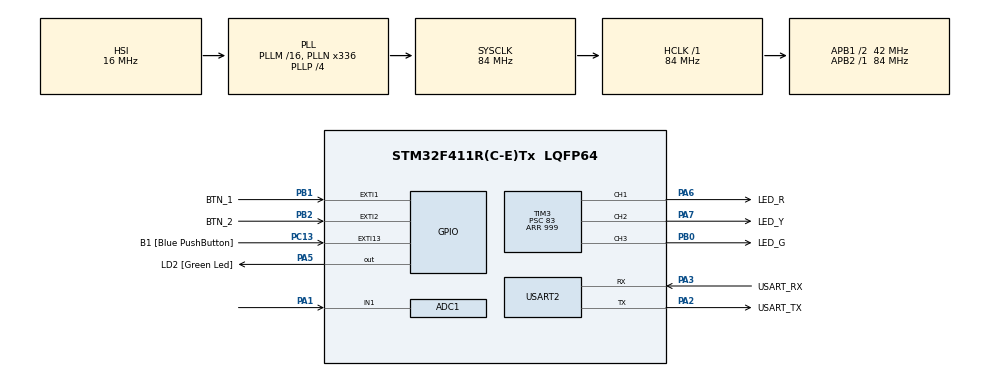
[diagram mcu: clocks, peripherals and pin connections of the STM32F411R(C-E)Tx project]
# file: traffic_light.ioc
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ADC1.Channel-0\#ChannelRegularConversion=ADC_CHANNEL_1
ADC1.NbrOfConversionFlag=1
ADC1.Rank-0\#ChannelRegularConversion=1
ADC1.SamplingTime-0\#ChannelRegularConversion=ADC_SAMPLETIME_3CYCLES
ADC1.master=1
Mcu.Family=STM32F4
Mcu.Name=STM32F411R(C-E)Tx
Mcu.Package=LQFP64
NVIC.ADC_IRQn=true\:0\:0\:false\:false\:true\:true\:true\:true
NVIC.EXTI1_IRQn=true\:0\:0\:false\:false\:true\:true\:true\:true
NVIC.EXTI2_IRQn=true\:0\:0\:false\:false\:true\:true\:true\:true
NVIC.PriorityGroup=NVIC_PRIORITYGROUP_0
NVIC.TIM2_IRQn=true\:0\:0\:false\:false\:true\:true\:true\:true
NVIC.TIM3_IRQn=true\:0\:0\:false\:false\:true\:true\:true\:true
PA0-WKUP.Signal=S_TIM2_CH1_ETR
PA1.Signal=ADCx_IN1
PA13.GPIO_Label=TMS
PA13.Mode=Serial_Wire
PA13.Signal=SYS_JTMS-SWDIO
PA14.GPIO_Label=TCK
PA14.Mode=Serial_Wire
PA14.Signal=SYS_JTCK-SWCLK
PA2.GPIO_Label=USART_TX
PA2.Mode=Asynchronous
PA2.Signal=USART2_TX
PA3.GPIO_Label=USART_RX
PA3.Mode=Asynchronous
PA3.Signal=USART2_RX
PA5.GPIO_Label=LD2 [Green Led]
PA5.Signal=GPIO_Output
PA6.GPIO_Label=LED_R
PA6.Signal=S_TIM3_CH1
PA7.GPIO_Label=LED_Y
PA7.Signal=S_TIM3_CH2
PB0.GPIO_Label=LED_G
PB0.Signal=S_TIM3_CH3
PB1.GPIO_Label=BTN_1
PB1.Signal=GPXTI1
PB2.GPIO_Label=BTN_2
PB2.Signal=GPXTI2
PB3.GPIO_Label=SWO
PB3.Signal=SYS_JTDO-SWO
PC13-ANTI_TAMP.GPIO_Label=B1 [Blue PushButton]
PC13-ANTI_TAMP.GPIO_ModeDefaultEXTI=GPIO_MODE_IT_FALLING
PC13-ANTI_TAMP.Signal=GPXTI13
PC14-OSC32_IN.Mode=LSE-External-Oscillator
PC14-OSC32_IN.Signal=RCC_OSC32_IN
PC15-OSC32_OUT.Mode=LSE-External-Oscillator
PC15-OSC32_OUT.Signal=RCC_OSC32_OUT
PH0\ -\ OSC_IN.Mode=HSE-External-Clock-Source
PH0\ -\ OSC_IN.Signal=RCC_OSC_IN
PH1\ -\ OSC_OUT.Mode=HSE-External-Clock-Source
PH1\ -\ OSC_OUT.Signal=RCC_OSC_OUT
ProjectManager.HeapSize=0x200
ProjectManager.StackSize=0x400
ProjectManager.TargetToolchain=STM32CubeIDE
RCC.48MHZClocksFreq_Value=84000000
RCC.AHBFreq_Value=84000000
RCC.APB1CLKDivider=RCC_HCLK_DIV2
RCC.APB1Freq_Value=42000000
RCC.APB1TimFreq_Value=84000000
RCC.APB2Freq_Value=84000000
RCC.APB2TimFreq_Value=84000000
RCC.CortexFreq_Value=84000000
RCC.FLatency-AdvancedSettings=FLASH_LATENCY_2
RCC.HCLKFreq_Value=84000000
RCC.HSE_VALUE=8000000
RCC.HSI_VALUE=16000000
RCC.PLLN=336
RCC.PLLP=RCC_PLLP_DIV4
RCC.SYSCLKFreq_VALUE=84000000
RCC.SYSCLKSource=RCC_SYSCLKSOURCE_PLLCLK
RCC.VCOOutputFreq_Value=336000000
SH.ADCx_IN1.0=ADC1_IN1,IN1
SH.S_TIM2_CH1_ETR.0=TIM2_CH1
SH.S_TIM3_CH1.0=TIM3_CH1,PWM Generation1 CH1
SH.S_TIM3_CH2.0=TIM3_CH2,PWM Generation2 CH2
SH.S_TIM3_CH3.0=TIM3_CH3,PWM Generation3 CH3
TIM2.Channel-Output\ Compare1\ No\ Output=TIM_CHANNEL_1
TIM2.Period=99
TIM2.Prescaler=8399
TIM2.Pulse-Output\ Compare1\ No\ Output=99
TIM3.Channel-PWM\ Generation1\ CH1=TIM_CHANNEL_1
TIM3.Channel-PWM\ Generation2\ CH2=TIM_CHANNEL_2
TIM3.Channel-PWM\ Generation3\ CH3=TIM_CHANNEL_3
TIM3.Period=999
TIM3.Prescaler=83
TIM3.Pulse-PWM\ Generation1\ CH1=499
TIM3.Pulse-PWM\ Generation2\ CH2=499
TIM3.Pulse-PWM\ Generation3\ CH3=999
USART2.VirtualMode=VM_ASYNC
VP_TIM2_VS_no_output1.Mode=Output Compare1 No Output
board=NUCLEO-F411RE

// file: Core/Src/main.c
/* USER CODE BEGIN Header */
/**
 ******************************************************************************
 * @file           : main.c
 * @brief          : Main program body
 ******************************************************************************
 * @attention
 *
 * Copyright (c) 2025 STMicroelectronics.
 * All rights reserved.
 *
 * This software is licensed under terms that can be found in the LICENSE file
 * in the root directory of this software component.
 * If no LICENSE file comes with this software, it is provided AS-IS.
 *
 ******************************************************************************
 */
/* USER CODE END Header */
#include "main.h"

/* USER CODE BEGIN Includes */
#include <stdio.h>
/* USER CODE END Includes */

/* USER CODE BEGIN PD */
#ifdef __GNUC__
/* With GCC, small printf (option LD Linker->Libraries->Small printf
 set to 'Yes') calls __io_putchar() */
#define PUTCHAR_PROTOTYPE int __io_putchar(int ch)
#else
#define PUTCHAR_PROTOTYPE int fputc(int ch, FILE *f)
#endif /* __GNUC__ */
/* USER CODE END PD */

ADC_HandleTypeDef hadc1;

TIM_HandleTypeDef htim2;
TIM_HandleTypeDef htim3;

UART_HandleTypeDef huart2;

/* USER CODE BEGIN PV */
// ADC, PWM
volatile uint8_t  adc_flag = 0;
volatile uint32_t adc_value = 0;
volatile uint32_t pwm_duty = 0;

// 상태 및 스텝
volatile uint32_t state_tick = 0;

typedef enum {
    STATE_GREEN = 0,
    STATE_YELLOW,
    STATE_RED
} TrafficState_t;

volatile TrafficState_t state = STATE_GREEN;

// 버튼 플래그
volatile uint8_t  btn_1_flag = 0;
volatile uint8_t  btn_2_flag = 0;

/* USER CODE END PV */

void SystemClock_Config(void);
static void MX_GPIO_Init(void);
static void MX_USART2_UART_Init(void);
static void MX_TIM2_Init(void);
static void MX_TIM3_Init(void);
static void MX_ADC1_Init(void);

int main(void) {

	/* MCU Configuration--------------------------------------------------------*/

	/* Reset of all peripherals, Initializes the Flash interface and the Systick. */
	HAL_Init();

	/* Configure the system clock */
	SystemClock_Config();

	/* Initialize all configured peripherals */
	MX_GPIO_Init();
	MX_USART2_UART_Init();
	MX_TIM2_Init();
	MX_TIM3_Init();
	MX_ADC1_Init();
	/* USER CODE BEGIN 2 */
	HAL_TIM_Base_Start_IT(&htim2); // TIM2 CH1 10ms 타이머 시작
	if (HAL_ADC_Start_IT(&hadc1) != HAL_OK)
		Error_Handler();

	HAL_TIM_PWM_Start(&htim3, TIM_CHANNEL_1); // LED1 RED
	HAL_TIM_PWM_Start(&htim3, TIM_CHANNEL_2); // LED2 YELLOW
	HAL_TIM_PWM_Start(&htim3, TIM_CHANNEL_3); // LED3 GREEN

	__HAL_TIM_SET_COMPARE(&htim3, TIM_CHANNEL_1, 0);   // LED1 OFF
	__HAL_TIM_SET_COMPARE(&htim3, TIM_CHANNEL_2, 0);   // LED2 OFF
	__HAL_TIM_SET_COMPARE(&htim3, TIM_CHANNEL_3, 0);   // LED3 OFF

	printf("System Start!!\r\n");

	/* USER CODE END 2 */

	/* Infinite loop */
	/* USER CODE BEGIN WHILE */
	while (1) {

		if (adc_flag) {
			adc_flag = 0;
			pwm_duty = (adc_value * 999) / 4095;
			HAL_ADC_Start_IT(&hadc1);

		}

		switch (state) {
		    case STATE_GREEN: // Green: 10초
		        __HAL_TIM_SET_COMPARE(&htim3, TIM_CHANNEL_3, pwm_duty);
		        __HAL_TIM_SET_COMPARE(&htim3, TIM_CHANNEL_1, 0);
		        __HAL_TIM_SET_COMPARE(&htim3, TIM_CHANNEL_2, 0);

		        if (state_tick >= 1000) {
		            state_tick = 0;
		            state = STATE_YELLOW;
		        }
		        break;

		    case STATE_YELLOW: // Yellow: 3초
		        __HAL_TIM_SET_COMPARE(&htim3, TIM_CHANNEL_1, 0);
		        __HAL_TIM_SET_COMPARE(&htim3, TIM_CHANNEL_3, 0);
		        __HAL_TIM_SET_COMPARE(&htim3, TIM_CHANNEL_2, pwm_duty);

		        if (state_tick >= 300) {
		            state_tick = 0;
		            __HAL_TIM_SET_COMPARE(&htim3, TIM_CHANNEL_2, 0);
		            state = STATE_RED;
		        }
		        break;

		    case STATE_RED: // Red: 10초
		        __HAL_TIM_SET_COMPARE(&htim3, TIM_CHANNEL_1, pwm_duty);
		        __HAL_TIM_SET_COMPARE(&htim3, TIM_CHANNEL_3, 0);
		        __HAL_TIM_SET_COMPARE(&htim3, TIM_CHANNEL_2, 0);

		        if (state_tick >= 1000) {
		            state_tick = 0;
		            __HAL_TIM_SET_COMPARE(&htim3, TIM_CHANNEL_1, 0);
		            state = STATE_GREEN;
		        }
		        break;
		}

		if (btn_1_flag) {
		    btn_1_flag = 0;
		    state_tick = 0;
		    state = STATE_GREEN;
		}
		if (btn_2_flag) {
		    btn_2_flag = 0;
		    state_tick = 0;
		    state = STATE_RED;
		}

		/* USER CODE END WHILE */

	}
}

void SystemClock_Config(void) {
	RCC_OscInitTypeDef RCC_OscInitStruct = { 0 };
	RCC_ClkInitTypeDef RCC_ClkInitStruct = { 0 };

	/** Configure the main internal regulator output voltage
	 */
	__HAL_RCC_PWR_CLK_ENABLE();
	__HAL_PWR_VOLTAGESCALING_CONFIG(PWR_REGULATOR_VOLTAGE_SCALE1);

	/** Initializes the RCC Oscillators according to the specified parameters
	 * in the RCC_OscInitTypeDef structure.
	 */
	RCC_OscInitStruct.OscillatorType = RCC_OSCILLATORTYPE_HSI;
	RCC_OscInitStruct.HSIState = RCC_HSI_ON;
	RCC_OscInitStruct.HSICalibrationValue = RCC_HSICALIBRATION_DEFAULT;
	RCC_OscInitStruct.PLL.PLLState = RCC_PLL_ON;
	RCC_OscInitStruct.PLL.PLLSource = RCC_PLLSOURCE_HSI;
	RCC_OscInitStruct.PLL.PLLM = 16;
	RCC_OscInitStruct.PLL.PLLN = 336;
	RCC_OscInitStruct.PLL.PLLP = RCC_PLLP_DIV4;
	RCC_OscInitStruct.PLL.PLLQ = 4;
	if (HAL_RCC_OscConfig(&RCC_OscInitStruct) != HAL_OK) {
		Error_Handler();
	}

	/** Initializes the CPU, AHB and APB buses clocks
	 */
	RCC_ClkInitStruct.ClockType = RCC_CLOCKTYPE_HCLK | RCC_CLOCKTYPE_SYSCLK
			| RCC_CLOCKTYPE_PCLK1 | RCC_CLOCKTYPE_PCLK2;
	RCC_ClkInitStruct.SYSCLKSource = RCC_SYSCLKSOURCE_PLLCLK;
	RCC_ClkInitStruct.AHBCLKDivider = RCC_SYSCLK_DIV1;
	RCC_ClkInitStruct.APB1CLKDivider = RCC_HCLK_DIV2;
	RCC_ClkInitStruct.APB2CLKDivider = RCC_HCLK_DIV1;

	if (HAL_RCC_ClockConfig(&RCC_ClkInitStruct, FLASH_LATENCY_2) != HAL_OK) {
		Error_Handler();
	}
}

static void MX_ADC1_Init(void) {

	ADC_ChannelConfTypeDef sConfig = { 0 };

	/** Configure the global features of the ADC (Clock, Resolution, Data Alignment and number of conversion)
	 */
	hadc1.Instance = ADC1;
	hadc1.Init.ClockPrescaler = ADC_CLOCK_SYNC_PCLK_DIV4;
	hadc1.Init.Resolution = ADC_RESOLUTION_12B;
	hadc1.Init.ScanConvMode = DISABLE;
	hadc1.Init.ContinuousConvMode = DISABLE;
	hadc1.Init.DiscontinuousConvMode = DISABLE;
	hadc1.Init.ExternalTrigConvEdge = ADC_EXTERNALTRIGCONVEDGE_NONE;
	hadc1.Init.ExternalTrigConv = ADC_SOFTWARE_START;
	hadc1.Init.DataAlign = ADC_DATAALIGN_RIGHT;
	hadc1.Init.NbrOfConversion = 1;
	hadc1.Init.DMAContinuousRequests = DISABLE;
	hadc1.Init.EOCSelection = ADC_EOC_SINGLE_CONV;
	if (HAL_ADC_Init(&hadc1) != HAL_OK) {
		Error_Handler();
	}

	/** Configure for the selected ADC regular channel its corresponding rank in the sequencer and its sample time.
	 */
	sConfig.Channel = ADC_CHANNEL_1;
	sConfig.Rank = 1;
	sConfig.SamplingTime = ADC_SAMPLETIME_3CYCLES;
	if (HAL_ADC_ConfigChannel(&hadc1, &sConfig) != HAL_OK) {
		Error_Handler();
	}

}

static void MX_TIM2_Init(void) {

	TIM_MasterConfigTypeDef sMasterConfig = { 0 };
	TIM_OC_InitTypeDef sConfigOC = { 0 };

	htim2.Instance = TIM2;
	htim2.Init.Prescaler = 8399;
	htim2.Init.CounterMode = TIM_COUNTERMODE_UP;
	htim2.Init.Period = 99;
	htim2.Init.ClockDivision = TIM_CLOCKDIVISION_DIV1;
	htim2.Init.AutoReloadPreload = TIM_AUTORELOAD_PRELOAD_DISABLE;
	if (HAL_TIM_OC_Init(&htim2) != HAL_OK) {
		Error_Handler();
	}
	sMasterConfig.MasterOutputTrigger = TIM_TRGO_RESET;
	sMasterConfig.MasterSlaveMode = TIM_MASTERSLAVEMODE_DISABLE;
	if (HAL_TIMEx_MasterConfigSynchronization(&htim2, &sMasterConfig)
			!= HAL_OK) {
		Error_Handler();
	}
	sConfigOC.OCMode = TIM_OCMODE_TIMING;
	sConfigOC.Pulse = 99;
	sConfigOC.OCPolarity = TIM_OCPOLARITY_HIGH;
	sConfigOC.OCFastMode = TIM_OCFAST_DISABLE;
	if (HAL_TIM_OC_ConfigChannel(&htim2, &sConfigOC, TIM_CHANNEL_1) != HAL_OK) {
		Error_Handler();
	}

}

static void MX_TIM3_Init(void) {

	TIM_MasterConfigTypeDef sMasterConfig = { 0 };
	TIM_OC_InitTypeDef sConfigOC = { 0 };

	htim3.Instance = TIM3;
	htim3.Init.Prescaler = 83;
	htim3.Init.CounterMode = TIM_COUNTERMODE_UP;
	htim3.Init.Period = 999;
	htim3.Init.ClockDivision = TIM_CLOCKDIVISION_DIV1;
	htim3.Init.AutoReloadPreload = TIM_AUTORELOAD_PRELOAD_DISABLE;
	if (HAL_TIM_PWM_Init(&htim3) != HAL_OK) {
		Error_Handler();
	}
	sMasterConfig.MasterOutputTrigger = TIM_TRGO_RESET;
	sMasterConfig.MasterSlaveMode = TIM_MASTERSLAVEMODE_DISABLE;
	if (HAL_TIMEx_MasterConfigSynchronization(&htim3, &sMasterConfig)
			!= HAL_OK) {
		Error_Handler();
	}
	sConfigOC.OCMode = TIM_OCMODE_PWM1;
	sConfigOC.Pulse = 499;
	sConfigOC.OCPolarity = TIM_OCPOLARITY_HIGH;
	sConfigOC.OCFastMode = TIM_OCFAST_DISABLE;
	if (HAL_TIM_PWM_ConfigChannel(&htim3, &sConfigOC, TIM_CHANNEL_1)
			!= HAL_OK) {
		Error_Handler();
	}
	if (HAL_TIM_PWM_ConfigChannel(&htim3, &sConfigOC, TIM_CHANNEL_2)
			!= HAL_OK) {
		Error_Handler();
	}
	sConfigOC.Pulse = 999;
	if (HAL_TIM_PWM_ConfigChannel(&htim3, &sConfigOC, TIM_CHANNEL_3)
			!= HAL_OK) {
		Error_Handler();
	}
	HAL_TIM_MspPostInit(&htim3);

}

static void MX_USART2_UART_Init(void) {

	huart2.Instance = USART2;
	huart2.Init.BaudRate = 115200;
	huart2.Init.WordLength = UART_WORDLENGTH_8B;
	huart2.Init.StopBits = UART_STOPBITS_1;
	huart2.Init.Parity = UART_PARITY_NONE;
	huart2.Init.Mode = UART_MODE_TX_RX;
	huart2.Init.HwFlowCtl = UART_HWCONTROL_NONE;
	huart2.Init.OverSampling = UART_OVERSAMPLING_16;
	if (HAL_UART_Init(&huart2) != HAL_OK) {
		Error_Handler();
	}

}

static void MX_GPIO_Init(void) {
	GPIO_InitTypeDef GPIO_InitStruct = { 0 };

	/* GPIO Ports Clock Enable */
	__HAL_RCC_GPIOC_CLK_ENABLE();
	__HAL_RCC_GPIOH_CLK_ENABLE();
	__HAL_RCC_GPIOA_CLK_ENABLE();
	__HAL_RCC_GPIOB_CLK_ENABLE();

	/*Configure GPIO pin Output Level */
	HAL_GPIO_WritePin(LD2_GPIO_Port, LD2_Pin, GPIO_PIN_RESET);

	/*Configure GPIO pin : B1_Pin */
	GPIO_InitStruct.Pin = B1_Pin;
	GPIO_InitStruct.Mode = GPIO_MODE_IT_FALLING;
	GPIO_InitStruct.Pull = GPIO_NOPULL;
	HAL_GPIO_Init(B1_GPIO_Port, &GPIO_InitStruct);

	/*Configure GPIO pin : LD2_Pin */
	GPIO_InitStruct.Pin = LD2_Pin;
	GPIO_InitStruct.Mode = GPIO_MODE_OUTPUT_PP;
	GPIO_InitStruct.Pull = GPIO_NOPULL;
	GPIO_InitStruct.Speed = GPIO_SPEED_FREQ_LOW;
	HAL_GPIO_Init(LD2_GPIO_Port, &GPIO_InitStruct);

	/*Configure GPIO pins : BTN_1_Pin BTN_2_Pin */
	GPIO_InitStruct.Pin = BTN_1_Pin | BTN_2_Pin;
	GPIO_InitStruct.Mode = GPIO_MODE_IT_RISING;
	GPIO_InitStruct.Pull = GPIO_NOPULL;
	HAL_GPIO_Init(GPIOB, &GPIO_InitStruct);

	/* EXTI interrupt init*/
	HAL_NVIC_SetPriority(EXTI1_IRQn, 0, 0);
	HAL_NVIC_EnableIRQ(EXTI1_IRQn);

	HAL_NVIC_SetPriority(EXTI2_IRQn, 0, 0);
	HAL_NVIC_EnableIRQ(EXTI2_IRQn);

}

/* USER CODE BEGIN 4 */
PUTCHAR_PROTOTYPE {
	/* Place your implementation of fputc here */
	/* e.g. write a character to the USART6 and Loop until the end of transmission */
	HAL_UART_Transmit(&huart2, (uint8_t*) &ch, 1, 0xFFFF);

	return ch;
}

void HAL_TIM_PeriodElapsedCallback(TIM_HandleTypeDef *htim) {
	if (htim->Instance == TIM2) {
		state_tick++;
	}
}

void HAL_ADC_ConvCpltCallback(ADC_HandleTypeDef *hadc) {
	if (hadc->Instance == ADC1) {
		adc_value = HAL_ADC_GetValue(&hadc1);
		adc_flag = 1;
	}

}

void HAL_GPIO_EXTI_Callback(uint16_t GPIO_Pin) {
	if (GPIO_Pin == GPIO_PIN_1) {
		btn_1_flag = 1;
	} else if (GPIO_Pin == GPIO_PIN_2) {
		btn_2_flag = 1;
	}
}

/* USER CODE END 4 */

void Error_Handler(void) {
	/* USER CODE BEGIN Error_Handler_Debug */
	/* User can add his own implementation to report the HAL error return state */
	__disable_irq();
	while (1) {
		HAL_GPIO_TogglePin(GPIOA, GPIO_PIN_5);
		HAL_Delay(200);
	}
	/* USER CODE END Error_Handler_Debug */
}
